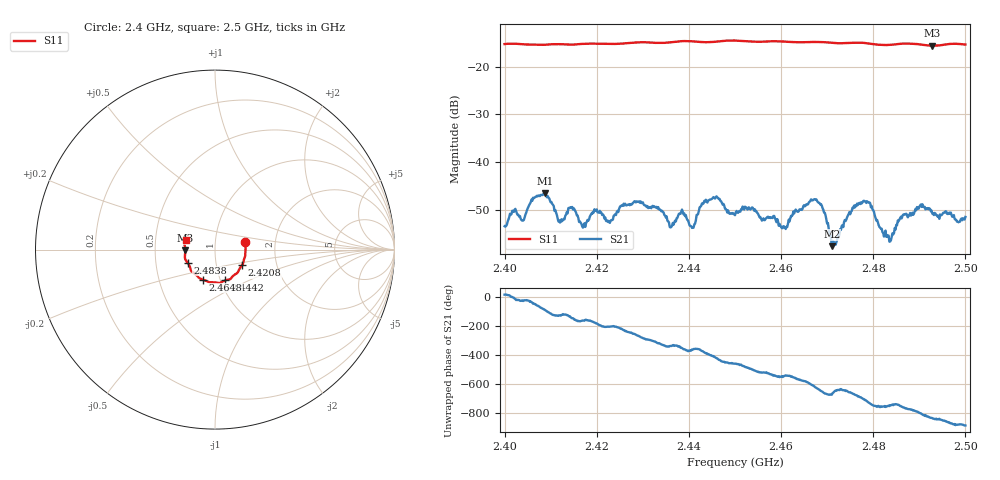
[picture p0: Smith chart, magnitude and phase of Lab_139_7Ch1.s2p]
# Hz S RI R 50
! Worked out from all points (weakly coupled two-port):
!   601 points, 2.4 GHz to 2.5 GHz, reference 50 ohm
!   highest |S21| = -46.43 dB at 2.4088 GHz (marker M1); lowest = -57.6 dB at 2.471 GHz (marker M2)
!   lowest |S11| = -15.6 dB at 2.4928 GHz (marker M3), VSWR 1.40, Z = 35.8 - j0.355 ohm
!   |S11| at or under -10 dB: start of sweep to end of sweep
!   S12 and S22 are empty: the file has one direction only
!   S11 on the Smith chart (normalised r, x): 2.4 GHz: 1.40, +0.12; 2.4208 GHz: 1.33, -0.24; 2.4442 GHz: 1.05, -0.37; 2.4648 GHz: 0.83, -0.29; 2.4838 GHz: 0.73, -0.11; 2.5 GHz: 0.72, +0.08
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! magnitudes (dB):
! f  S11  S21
! 2.4 GHz  -15.3  -53.4
! 2.4088 GHz  -15.4  -46.4
! 2.412 GHz  -15.3  -52.6
! 2.4145 GHz  -15.4  -49.6
! 2.4167 GHz  -15.2  -52.9
! 2.4208 GHz  -15.2  -50.6
! 2.4333 GHz  -15.0  -49.4
! 2.4358 GHz  -14.9  -53.6
! 2.4407 GHz  -14.7  -53.8
! 2.4442 GHz  -14.9  -48.0
! 2.45 GHz  -14.5  -51.1
! 2.4607 GHz  -14.8  -53.5
! 2.4648 GHz  -14.9  -49.2
! 2.4667 GHz  -14.8  -47.9
! 2.469 GHz  -14.9  -49.6
! 2.471 GHz  -15.0  -57.6
! 2.4783 GHz  -15.1  -48.2
! 2.4833 GHz  -15.5  -55.4
! 2.4838 GHz  -15.4  -56.4
! 2.4865 GHz  -15.2  -51.0
! 2.4928 GHz  -15.6  -50.8
! 2.5 GHz  -15.4  -51.5
